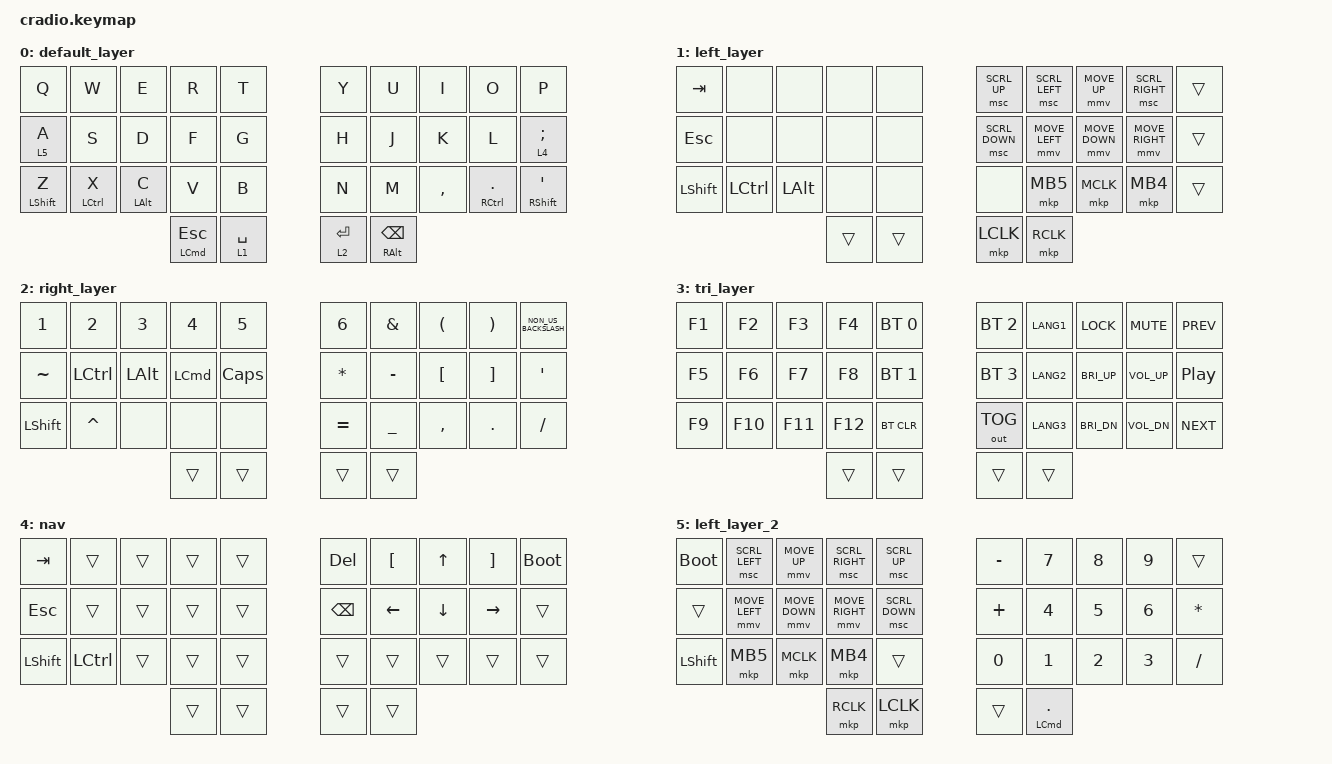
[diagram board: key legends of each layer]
// Copyright (c) 2022 The ZMK Contributors
// SPDX-License-Identifier: MIT

#define ZMK_MOUSE_DEFAULT_MOVE_VAL 2000  // 600
#define ZMK_MOUSE_DEFAULT_SCRL_VAL 15    // 10

#include <dt-bindings/zmk/mouse.h>
#include <behaviors.dtsi>
#include <dt-bindings/zmk/bt.h>
#include <dt-bindings/zmk/keys.h>
#include <dt-bindings/zmk/outputs.h>

#define MAC 0
#define WIN 1
#define RIG 2
#define LEF 3
#define TRI 4
#define MOUSE 5

/ {
    chosen { zmk,charmap = &charmap_us; };

    behaviors {
        ht: hold_tap {
            label = "hold_tap";
            compatible = "zmk,behavior-hold-tap";
            bindings = <&kp>, <&kp>;

            #binding-cells = <2>;
            flavor = "balanced";
            tapping-term-ms = <220>;
            global-quick-tap;
        };

        hlt: hold_layer_tap {
            label = "hold_layer_tap";
            compatible = "zmk,behavior-hold-tap";
            bindings = <&lt>, <&kp>;

            #binding-cells = <2>;
            flavor = "balanced";
            tapping-term-ms = <220>;
            global-quick-tap;
        };
    };

    conditional_layers {
        compatible = "zmk,conditional-layers";

        tri_layer {
            if-layers = <1 2>;
            then-layer = <3>;
        };
    };

    keymap {
        compatible = "zmk,keymap";

        default_layer {
            bindings = <
&kp Q             &kp W               &kp E           &kp R                    &kp T          &kp Y        &kp U         &kp I      &kp O                     &kp P
&lt 5 A           &kp S               &kp D           &kp F                    &kp G          &kp H        &kp J         &kp K      &kp L                     &lt 4 SEMICOLON
&ht LEFT_SHIFT Z  &ht LEFT_CONTROL X  &ht LEFT_ALT C  &kp V                    &kp B          &kp N        &kp M         &kp COMMA  &ht RIGHT_CONTROL PERIOD  &ht RIGHT_SHIFT SINGLE_QUOTE
                                                      &ht LEFT_COMMAND ESCAPE  &lt 1 SPACE    &lt 2 ENTER  &ht RALT BACKSPACE
            >;
        };

        left_layer {
            bindings = <
&kp TAB     &none             &none         &none   &none     &msc SCRL_UP    &msc SCRL_LEFT  &mmv MOVE_UP    &msc SCRL_RIGHT  &trans
&kp ESCAPE  &none             &none         &none   &none     &msc SCRL_DOWN  &mmv MOVE_LEFT  &mmv MOVE_DOWN  &mmv MOVE_RIGHT  &trans
&kp LSHIFT  &kp LEFT_CONTROL  &kp LEFT_ALT  &none   &none     &none           &mkp MB5        &mkp MCLK       &mkp MB4         &trans
                                            &trans  &trans    &mkp LCLK       &mkp RCLK
            >;
        };

        right_layer {
            bindings = <
&kp N1          &kp N2     &kp N3        &kp N4    &kp N5      &kp N6        &kp AMPS   &kp LEFT_PARENTHESIS  &kp RIGHT_PARENTHESIS  &kp NON_US_BACKSLASH
&kp TILDE       &kp LCTRL  &kp LEFT_ALT  &kp LCMD  &kp CAPS    &kp ASTERISK  &kp MINUS  &kp LEFT_BRACKET      &kp RIGHT_BRACKET      &kp SQT
&kp LEFT_SHIFT  &kp CARET  &none         &none     &none       &kp EQUAL     &kp UNDER  &kp COMMA             &kp PERIOD             &kp SLASH
                                         &trans    &trans      &trans        &trans
            >;
        };

        tri_layer {
            bindings = <
&kp F1  &kp F2   &kp F3   &kp F4   &bt BT_SEL 0    &bt BT_SEL 2  &kp LANG1  &kp K_LOCK    &kp C_MUTE    &kp C_PREV
&kp F5  &kp F6   &kp F7   &kp F8   &bt BT_SEL 1    &bt BT_SEL 3  &kp LANG2  &kp C_BRI_UP  &kp C_VOL_UP  &kp C_PP
&kp F9  &kp F10  &kp F11  &kp F12  &bt BT_CLR      &out OUT_TOG  &kp LANG3  &kp C_BRI_DN  &kp C_VOL_DN  &kp C_NEXT
                          &trans   &trans          &trans        &trans
            >;
        };

        nav {
            bindings = <
&kp TAB     &trans     &trans  &trans  &trans    &kp DELETE     &kp LEFT_BRACKET  &kp UP_ARROW    &kp RIGHT_BRACKET  &bootloader
&kp ESCAPE  &trans     &trans  &trans  &trans    &kp BACKSPACE  &kp LEFT          &kp DOWN_ARROW  &kp RIGHT          &trans
&kp LSHIFT  &kp LCTRL  &trans  &trans  &trans    &trans         &trans            &trans          &trans             &trans
                               &trans  &trans    &trans         &trans
            >;
        };

        left_layer_2 {
            bindings = <
&bootloader  &msc SCRL_LEFT  &mmv MOVE_UP    &msc SCRL_RIGHT  &msc SCRL_UP      &kp MINUS  &kp N7        &kp N8  &kp N9  &trans
&trans       &mmv MOVE_LEFT  &mmv MOVE_DOWN  &mmv MOVE_RIGHT  &msc SCRL_DOWN    &kp PLUS   &kp N4        &kp N5  &kp N6  &kp ASTERISK
&kp LSHIFT   &mkp MB5        &mkp MCLK       &mkp MB4         &trans            &kp N0     &kp N1        &kp N2  &kp N3  &kp SLASH
                                             &mkp RCLK        &mkp LCLK         &trans     &ht LCMD DOT
            >;
        };
    };
};
